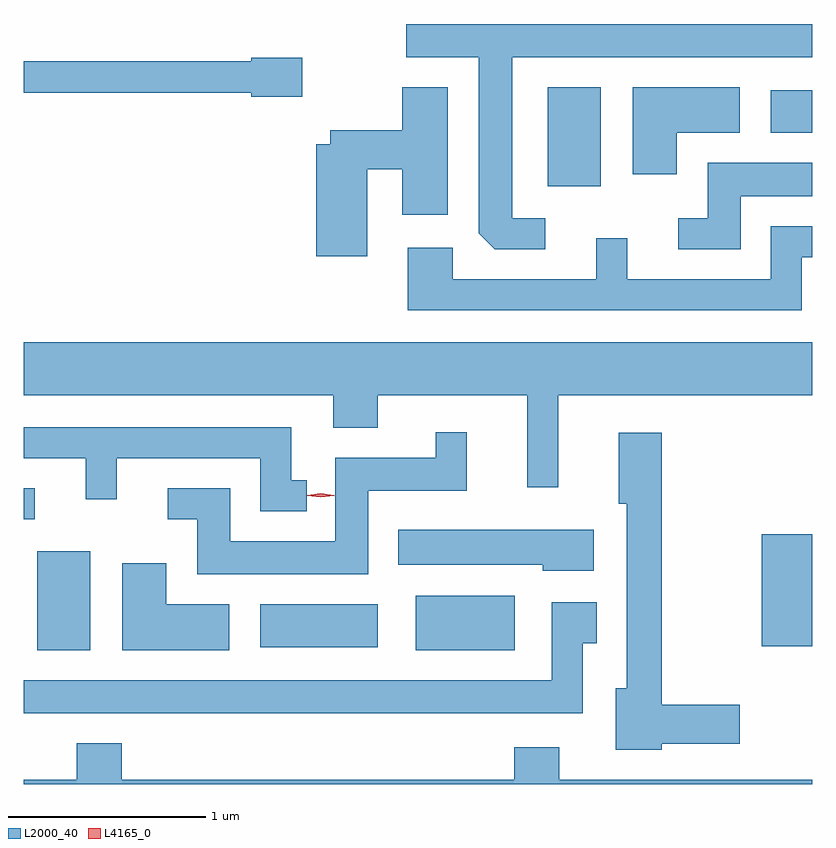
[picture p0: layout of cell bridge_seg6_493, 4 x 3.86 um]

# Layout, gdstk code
import gdstk
lib = gdstk.Library(unit=1e-6, precision=1e-09)
def R(c, l, rs):  # rectangles x0, y0, x1, y1
    for r in rs: c.add(gdstk.rectangle(r[:2], r[2:], *l))
def P(c, l, *ps):  # polygons
    for p in ps: c.add(gdstk.Polygon(p, *l))
L2000_40 = (2000, 40)
L4165_0 = (4165, 0)

bridge_seg6_493 = lib.new_cell('bridge_seg6_493')
R(bridge_seg6_493, L2000_40, [(883.881,1597.581,884.149,1598.084), (885.801,1597.581,886.304,1597.859), (885.011,1597.596,885.609,1597.814), (887.556,1597.601,887.812,1598.169), (883.812,1598.246,883.868,1598.404), (886.471,1599.936,886.739,1600.439), (887.601,1600.206,887.812,1600.424)])
P(bridge_seg6_493, L2000_40, [(886.458,1599.774),(886.289,1599.774),(886.289,1600.591),(887.812,1600.591),(887.812,1600.759),(885.753,1600.759),(885.753,1600.591),(886.121,1600.591),(886.121,1599.697),(886.202,1599.616),(886.458,1599.616)],
  [(885.224,1600.589),(884.966,1600.589),(884.966,1600.569),(883.812,1600.569),(883.812,1600.411),(884.966,1600.411),(884.966,1600.391),(885.224,1600.391)],
  [(885.554,1600.021),(885.731,1600.021),(885.731,1599.791),(885.964,1599.791),(885.964,1600.439),(885.731,1600.439),(885.731,1600.219),(885.366,1600.219),(885.366,1600.149),(885.296,1600.149),(885.296,1599.581),(885.554,1599.581)],
  [(887.124,1600.206),(887.444,1600.206),(887.444,1600.439),(886.901,1600.439),(886.901,1599.996),(887.124,1599.996)],
  [(887.449,1599.886),(887.812,1599.886),(887.812,1600.054),(887.281,1600.054),(887.281,1599.774),(887.133,1599.774),(887.133,1599.616),(887.449,1599.616)],
  [(887.759,1599.576),(887.812,1599.576),(887.812,1599.734),(887.601,1599.734),(887.601,1599.464),(886.874,1599.464),(886.874,1599.673),(886.716,1599.673),(886.716,1599.464),(885.989,1599.464),(885.989,1599.624),(885.761,1599.624),(885.761,1599.306),(887.759,1599.306)],
  [(886.524,1598.876),(887.812,1598.876),(887.812,1599.144),(883.812,1599.144),(883.812,1598.876),(885.381,1598.876),(885.381,1598.711),(885.609,1598.711),(885.609,1598.876),(886.366,1598.876),(886.366,1598.408),(886.524,1598.408)],
  [(885.248,1598.444),(885.169,1598.444),(885.169,1598.714),(883.812,1598.714),(883.812,1598.556),(884.126,1598.556),(884.126,1598.348),(884.284,1598.348),(884.284,1598.556),(885.011,1598.556),(885.011,1598.286),(885.248,1598.286)],
  [(885.559,1598.391),(886.059,1598.391),(886.059,1598.688),(885.901,1598.688),(885.901,1598.559),(885.391,1598.559),(885.391,1598.134),(884.859,1598.134),(884.859,1598.404),(884.543,1598.404),(884.543,1598.246),(884.691,1598.246),(884.691,1597.966),(885.559,1597.966)],
  [(887.049,1597.106),(887.444,1597.106),(887.444,1597.304),(887.049,1597.304),(887.049,1598.684),(886.831,1598.684),(886.831,1598.326),(886.871,1598.326),(886.871,1597.389),(886.816,1597.389),(886.816,1597.076),(887.049,1597.076)],
  [(886.704,1598.194),(885.711,1598.194),(885.711,1598.016),(886.446,1598.016),(886.446,1597.986),(886.704,1597.986)],
  [(884.854,1597.814),(884.534,1597.814),(884.534,1598.024),(884.311,1598.024),(884.311,1597.581),(884.854,1597.581)],
  [(886.649,1597.616),(886.719,1597.616),(886.719,1597.824),(886.491,1597.824),(886.491,1597.429),(883.812,1597.429),(883.812,1597.261),(886.649,1597.261)],
  [(887.812,1596.924),(886.529,1596.924),(886.529,1597.089),(886.301,1597.089),(886.301,1596.924),(884.309,1596.924),(884.309,1597.109),(884.081,1597.109),(884.081,1596.924),(883.812,1596.924),(883.812,1596.903),(887.812,1596.903)])
P(bridge_seg6_493, L4165_0, [(885.318,1598.357),(885.249,1598.366),(885.249,1598.367),(885.249,1598.367),(885.318,1598.377),(885.388,1598.367),(885.388,1598.367),(885.388,1598.366)])

lib.write_gds('bridge_seg6_493.gds')
